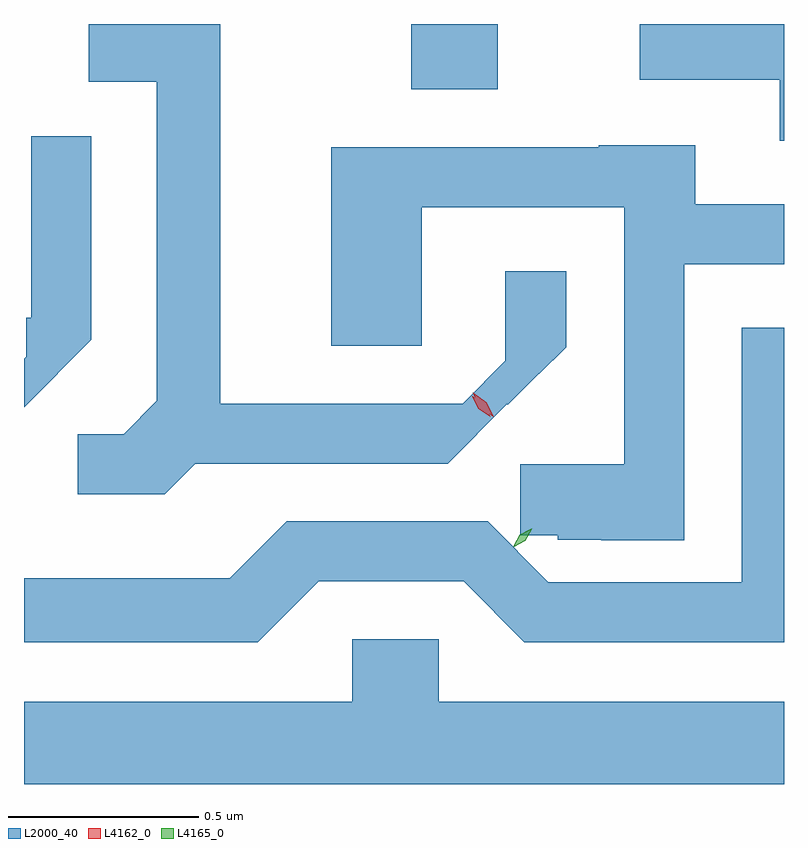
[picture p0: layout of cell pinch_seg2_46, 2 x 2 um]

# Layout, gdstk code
import gdstk
lib = gdstk.Library(unit=1e-6, precision=1e-09)
def R(c, l, rs):  # rectangles x0, y0, x1, y1
    for r in rs: c.add(gdstk.rectangle(r[:2], r[2:], *l))
def P(c, l, *ps):  # polygons
    for p in ps: c.add(gdstk.Polygon(p, *l))
L2000_40 = (2000, 40)
L4162_0 = (4162, 0)
L4165_0 = (4165, 0)

pinch_seg2_46 = lib.new_cell('pinch_seg2_46')
R(pinch_seg2_46, L2000_40, [(1223.511,1090.156,1223.739,1090.328)])
P(pinch_seg2_46, L2000_40, [(1224.492,1090.328),(1224.113,1090.328),(1224.113,1090.181),(1224.481,1090.181),(1224.481,1090.021),(1224.492,1090.021)],
  [(1222.942,1089.171),(1223.607,1089.171),(1223.763,1089.327),(1223.765,1089.326),(1223.847,1089.408),(1223.848,1089.407),(1223.919,1089.478),(1223.919,1089.678),(1223.759,1089.678),(1223.759,1089.442),(1223.646,1089.329),(1223.009,1089.329),(1223.009,1090.328),(1222.663,1090.328),(1222.663,1090.176),(1222.841,1090.176),(1222.841,1089.337),(1222.754,1089.249),(1222.633,1089.249),(1222.633,1089.091),(1222.862,1089.091)],
  [(1222.669,1089.497),(1222.669,1090.033),(1222.511,1090.033),(1222.511,1089.555),(1222.498,1089.555),(1222.498,1089.453),(1222.492,1089.447),(1222.492,1089.32)],
  [(1224.229,1089.696),(1224.492,1089.696),(1224.492,1089.854),(1224.259,1089.854),(1224.259,1090.009),(1224.005,1090.009),(1224.005,1090.004),(1223.301,1090.004),(1223.301,1089.481),(1223.539,1089.481),(1223.539,1089.846),(1224.071,1089.846),(1224.071,1089.169),(1223.798,1089.169),(1223.798,1088.982),(1223.897,1088.982),(1223.897,1088.971),(1224.011,1088.971),(1224.011,1088.97),(1224.229,1088.97)],
  [(1223.267,1088.861),(1223.649,1088.861),(1223.809,1088.701),(1224.492,1088.701),(1224.492,1089.529),(1224.381,1089.529),(1224.381,1088.859),(1223.872,1088.859),(1223.712,1089.019),(1223.184,1089.019),(1223.034,1088.869),(1222.492,1088.869),(1222.492,1088.701),(1223.107,1088.701)],
  [(1224.492,1088.544),(1223.584,1088.544),(1223.584,1088.709),(1223.356,1088.709),(1223.356,1088.544),(1222.492,1088.544),(1222.492,1088.328),(1224.492,1088.328)])
P(pinch_seg2_46, L4162_0, [(1223.727,1089.294),(1223.693,1089.32),(1223.673,1089.357),(1223.673,1089.358),(1223.674,1089.358),(1223.708,1089.333),(1223.728,1089.295),(1223.728,1089.294)],
  [(1223.719,1089.295),(1223.688,1089.315),(1223.672,1089.348),(1223.672,1089.348),(1223.673,1089.348),(1223.703,1089.328),(1223.719,1089.296),(1223.719,1089.295)])
P(pinch_seg2_46, L4165_0, [(1223.781,1088.952),(1223.781,1088.952),(1223.797,1088.982),(1223.827,1089),(1223.828,1089),(1223.828,1088.999),(1223.811,1088.968),(1223.782,1088.952)],
  [(1223.781,1088.954),(1223.781,1088.955),(1223.796,1088.984),(1223.824,1088.999),(1223.825,1088.999),(1223.825,1088.998),(1223.81,1088.969),(1223.782,1088.954)])

lib.write_gds('pinch_seg2_46.gds')
